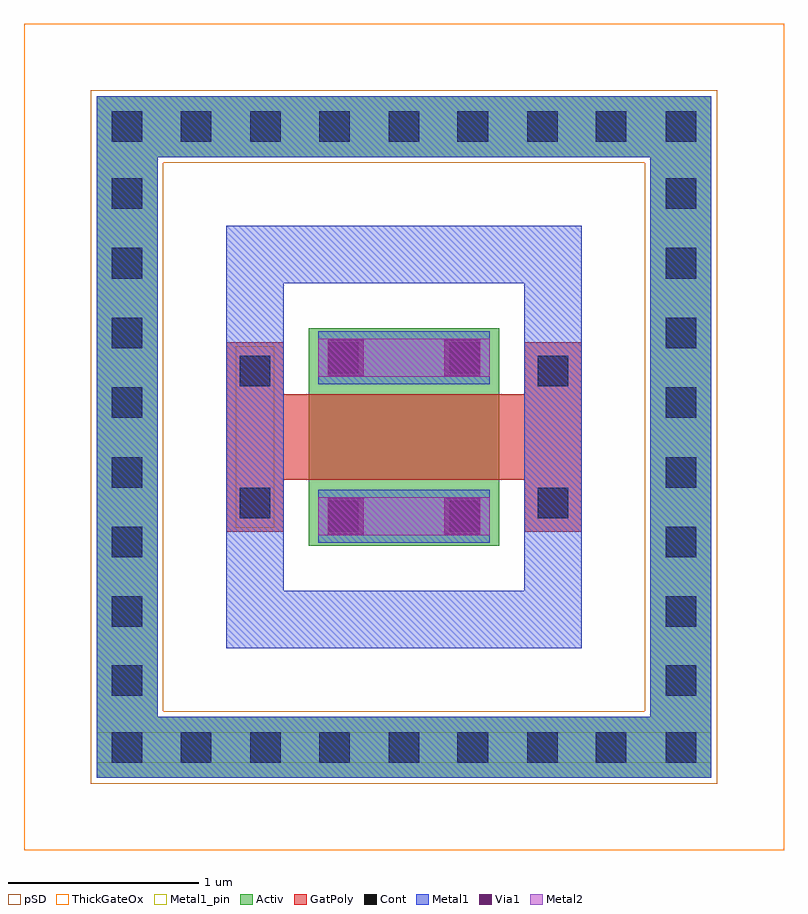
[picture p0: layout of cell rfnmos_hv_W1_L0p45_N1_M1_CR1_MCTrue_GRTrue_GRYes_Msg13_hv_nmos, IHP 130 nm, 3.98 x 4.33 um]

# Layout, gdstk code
import gdstk
lib = gdstk.Library(unit=1e-6, precision=1e-09)
def R(c, l, rs):  # rectangles x0, y0, x1, y1
    for r in rs: c.add(gdstk.rectangle(r[:2], r[2:], *l))
def A(c, l, x, y, w, h, nx, ny, dx, dy):  # array of equal rectangles
    R(c, l, [(x+i*dx, y+j*dy, x+i*dx+w, y+j*dy+h) for i in range(nx) for j in range(ny)])
Activ = (1, 0)
GatPoly = (5, 0)
Cont = (6, 0)
Metal1 = (8, 0)
Metal1_pin = (8, 2)
Metal2 = (10, 0)
pSD = (14, 0)
Via1 = (19, 0)
ThickGateOx = (44, 0)

rfnmos_hv_w1_l0p45_n1_m1 = lib.new_cell('rfnmos_hv_W1_L0p45_N1_M1_CR1_MCTrue_GRTrue_GRYes_Msg13_hv_nmos')
R(rfnmos_hv_w1_l0p45_n1_m1, Activ, [(0.38,0.38,3.6,0.7), (0.38,0.7,0.7,3.63), (3.28,0.7,3.6,3.63), (1.49,1.595,2.49,2.735), (0.38,3.63,3.6,3.95)])
R(rfnmos_hv_w1_l0p45_n1_m1, GatPoly, [(1.06,1.67,1.36,2.66), (2.62,1.67,2.92,2.66), (1.36,1.94,2.62,2.39)])
A(rfnmos_hv_w1_l0p45_n1_m1, Cont, 0.46, 1.17, 0.16, 0.16, 1, 7, 0, 0.365)
A(rfnmos_hv_w1_l0p45_n1_m1, Cont, 3.36, 1.17, 0.16, 0.16, 1, 7, 0, 0.365)
R(rfnmos_hv_w1_l0p45_n1_m1, Cont, [(0.46,0.46,0.62,0.62), (0.82,0.46,0.98,0.62), (1.185,0.46,1.345,0.62), (1.545,0.46,1.705,0.62), (1.91,0.46,2.07,0.62), (2.27,0.46,2.43,0.62), (2.635,0.46,2.795,0.62), (2.995,0.46,3.155,0.62), (3.36,0.46,3.52,0.62), (0.46,0.81,0.62,0.97), (3.36,0.81,3.52,0.97), (1.59,1.67,1.75,1.83), (2.23,1.67,2.39,1.83), (1.13,1.74,1.29,1.9), (2.69,1.74,2.85,1.9), (1.13,2.43,1.29,2.59), (2.69,2.43,2.85,2.59), (1.59,2.5,1.75,2.66), (2.23,2.5,2.39,2.66), (0.46,3.71,0.62,3.87), (0.82,3.71,0.98,3.87), (1.185,3.71,1.345,3.87), (1.545,3.71,1.705,3.87), (1.91,3.71,2.07,3.87), (2.27,3.71,2.43,3.87), (2.635,3.71,2.795,3.87), (2.995,3.71,3.155,3.87), (3.36,3.71,3.52,3.87)])
R(rfnmos_hv_w1_l0p45_n1_m1, Metal1, [(0.38,0.38,3.6,0.7), (0.38,0.7,0.7,3.63), (3.28,0.7,3.6,3.63), (1.06,1.06,1.36,3.27), (1.36,1.06,2.62,1.36), (2.62,1.06,2.92,3.27), (1.54,1.61,2.44,1.89), (1.11,1.69,1.31,2.64), (2.67,1.69,2.87,2.64), (1.54,2.44,2.44,2.72), (1.36,2.97,2.62,3.27), (0.38,3.63,3.6,3.95)])
R(rfnmos_hv_w1_l0p45_n1_m1, Metal1_pin, [(0.38,0.46,3.6,0.62), (1.54,1.61,2.44,1.89), (1.11,1.69,1.31,2.64), (1.54,2.44,2.44,2.72)])
R(rfnmos_hv_w1_l0p45_n1_m1, Metal2, [(1.54,1.65,2.44,1.85), (1.54,2.48,2.44,2.68)])
R(rfnmos_hv_w1_l0p45_n1_m1, pSD, [(0.35,0.35,3.63,0.73), (0.35,0.73,0.73,3.6), (3.25,0.73,3.63,3.6), (0.35,3.6,3.63,3.98)])
R(rfnmos_hv_w1_l0p45_n1_m1, Via1, [(1.59,1.655,1.78,1.845), (2.2,1.655,2.39,1.845), (1.59,2.485,1.78,2.675), (2.2,2.485,2.39,2.675)])
R(rfnmos_hv_w1_l0p45_n1_m1, ThickGateOx, [(0,0,3.98,4.33)])

lib.write_gds('rfnmos_hv_W1_L0p45_N1_M1_CR1_MCTrue_GRTrue_GRYes_Msg13_hv_nmos.gds')
